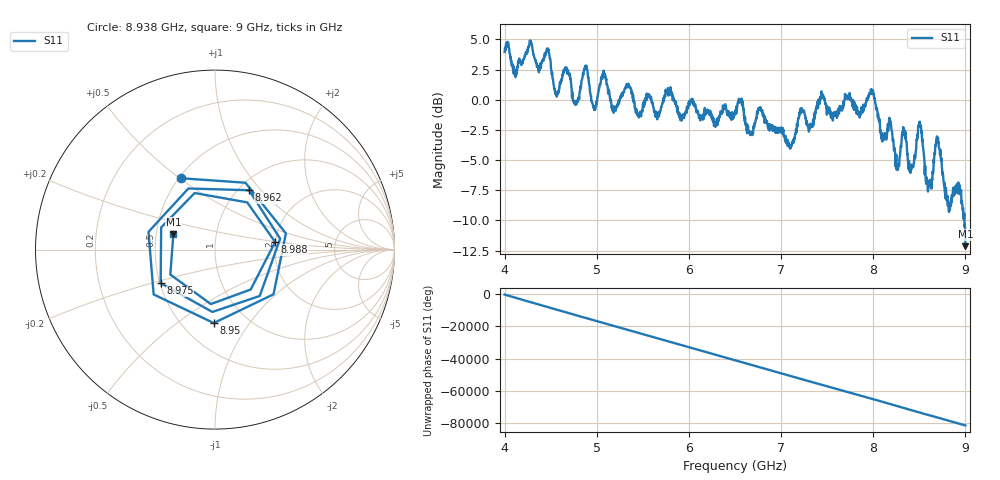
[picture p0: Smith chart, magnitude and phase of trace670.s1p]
! Created with skrf 1.8.0 (http://scikit-rf.org).
# Hz S RI R 50.0
!freq ReS11 ImS11
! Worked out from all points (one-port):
!   1601 points, 4 GHz to 9 GHz, reference 50 ohm
!   lowest |S11| = -12.1 dB at 9 GHz (marker M1), VSWR 1.66, Z = 30.8 + j5.65 ohm
!   |S11| at or under -10 dB: 8.989593 GHz to end of sweep
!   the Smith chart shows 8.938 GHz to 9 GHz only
!   S11 on the Smith chart (normalised r, x): 8.938 GHz: 0.51, +0.50; 8.95 GHz: 0.71, -0.69; 8.962 GHz: 1.12, +0.86; 8.975 GHz: 0.50, -0.22; 8.988 GHz: 2.00, +0.19; 9 GHz: 0.62, +0.11
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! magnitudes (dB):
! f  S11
! 4 GHz  4.0
! 4.625 GHz  1.8
! 4.766 GHz  -0.2
! 4.875 GHz  2.7
! 4.966 GHz  -0.6
! 5.072 GHz  2.1
! 5.25 GHz  0.0
! 5.875 GHz  -1.0
! 6.5 GHz  -1.0
! 7.125 GHz  -3.6
! 7.225 GHz  -0.7
! 7.319 GHz  -2.1
! 7.75 GHz  0.0
! 7.991 GHz  0.5
! 8.259 GHz  -5.3
! 8.331 GHz  -2.8
! 8.375 GHz  -5.0
! 8.419 GHz  -5.7
! 8.503 GHz  -2.1
! 8.594 GHz  -7.6
! 8.697 GHz  -3.2
! 8.819 GHz  -9.2
! 8.938 GHz  -7.1
! 8.95 GHz  -7.8
! 8.962 GHz  -8.4
! 8.975 GHz  -9.0
! 8.988 GHz  -9.4
! 9 GHz  -12.1
